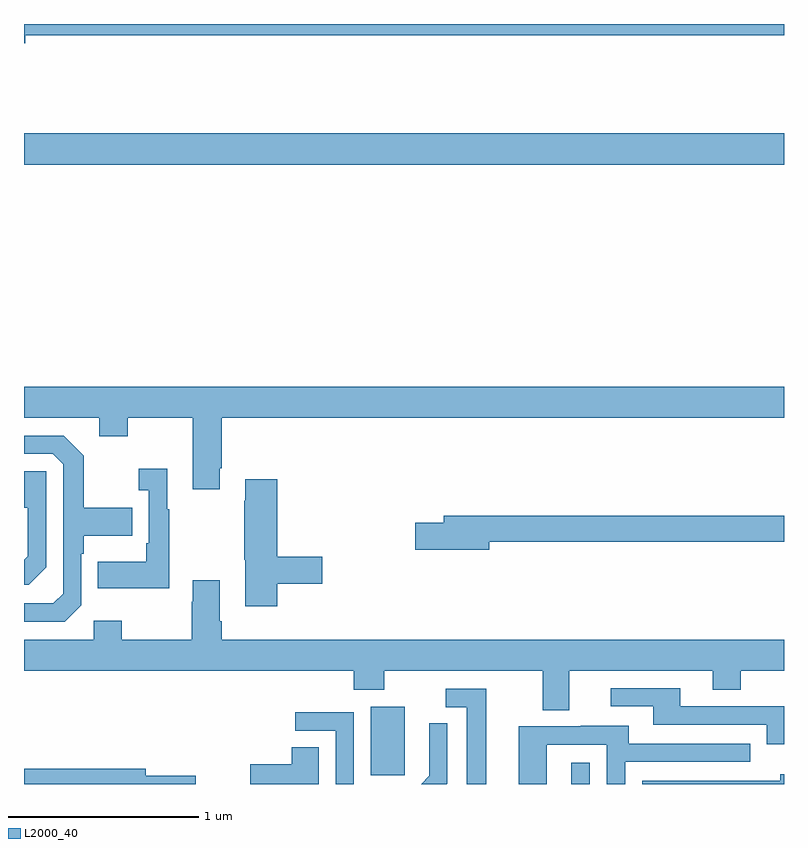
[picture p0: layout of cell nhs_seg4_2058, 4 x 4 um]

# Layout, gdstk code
import gdstk
lib = gdstk.Library(unit=1e-6, precision=1e-09)
def R(c, l, rs):  # rectangles x0, y0, x1, y1
    for r in rs: c.add(gdstk.rectangle(r[:2], r[2:], *l))
def P(c, l, *ps):  # polygons
    for p in ps: c.add(gdstk.Polygon(p, *l))
L2000_40 = (2000, 40)

nhs_seg4_2058 = lib.new_cell('nhs_seg4_2058')
R(nhs_seg4_2058, L2000_40, [(219.881,786.9,219.978,787.012), (218.825,786.945,219.004,787.306), (217,790.16,221,790.324)])
P(nhs_seg4_2058, L2000_40, [(217.006,790.84),(221,790.84),(221,790.9),(217,790.9),(217,790.798),(217.006,790.798)],
  [(218.029,788.563),(218.042,788.563),(218.042,788.828),(221,788.828),(221,788.992),(217,788.992),(217,788.828),(217.397,788.828),(217.397,788.729),(217.545,788.729),(217.545,788.828),(217.889,788.828),(217.889,788.451),(218.029,788.451)],
  [(217.302,787.842),(217.302,788.111),(217.315,788.111),(217.315,788.207),(217.571,788.207),(217.571,788.355),(217.315,788.355),(217.315,788.627),(217.209,788.733),(217,788.733),(217,788.637),(217.152,788.637),(217.206,788.583),(217.206,787.902),(217.155,787.851),(217,787.851),(217,787.755),(217.215,787.755)],
  [(217.765,788.347),(217.753,788.347),(217.753,788.56),(217.605,788.56),(217.605,788.447),(217.656,788.447),(217.656,788.167),(217.644,788.167),(217.644,788.071),(217.387,788.071),(217.387,787.931),(217.765,787.931)],
  [(217.116,788.04),(217.116,788.547),(217,788.547),(217,788.354),(217.02,788.354),(217.02,788.1),(217,788.08),(217,787.95),(217.026,787.95)],
  [(218.333,787.954),(218.569,787.954),(218.569,788.096),(218.333,788.096),(218.333,788.503),(218.165,788.503),(218.165,788.39),(218.158,788.39),(218.158,788.079),(218.165,788.079),(218.165,787.836),(218.333,787.836)],
  [(219.448,788.176),(221,788.176),(221,788.312),(219.209,788.312),(219.209,788.276),(219.06,788.276),(219.06,788.134),(219.448,788.134)],
  [(219.871,787.496),(220.625,787.496),(220.625,787.397),(220.773,787.397),(220.773,787.496),(221,787.496),(221,787.66),(218.042,787.66),(218.042,787.756),(218.029,787.756),(218.029,787.972),(217.889,787.972),(217.889,787.859),(217.882,787.859),(217.882,787.66),(217.515,787.66),(217.515,787.759),(217.368,787.759),(217.368,787.66),(217,787.66),(217,787.496),(218.735,787.496),(218.735,787.397),(218.895,787.397),(218.895,787.496),(219.731,787.496),(219.731,787.288),(219.871,787.288)],
  [(221,787.308),(220.453,787.308),(220.453,787.404),(220.089,787.404),(220.089,787.308),(220.313,787.308),(220.313,787.212),(220.908,787.212),(220.908,787.109),(221,787.109)],
  [(219.433,787.401),(219.219,787.401),(219.219,787.305),(219.329,787.305),(219.329,786.9),(219.433,786.9)],
  [(218.736,787.278),(218.427,787.278),(218.427,787.179),(218.64,787.179),(218.64,786.9),(218.736,786.9)],
  [(219.228,786.902),(219.228,787.22),(219.132,787.22),(219.132,787.066),(219.134,787.066),(219.134,786.944),(219.09,786.9),(219.226,786.9)],
  [(219.75,787.107),(220.068,787.107),(220.068,786.9),(220.164,786.9),(220.164,787.017),(220.823,787.017),(220.823,787.113),(220.183,787.113),(220.183,787.207),(219.929,787.207),(219.929,787.203),(219.605,787.203),(219.605,786.9),(219.75,786.9)],
  [(218.551,787.094),(218.408,787.094),(218.408,787.004),(218.19,787.004),(218.19,786.9),(218.551,786.9)],
  [(217.903,786.944),(217.642,786.944),(217.642,786.98),(217,786.98),(217,786.9),(217.903,786.9)],
  [(221,786.952),(220.979,786.952),(220.979,786.918),(220.254,786.918),(220.254,786.9),(221,786.9)])

lib.write_gds('nhs_seg4_2058.gds')
